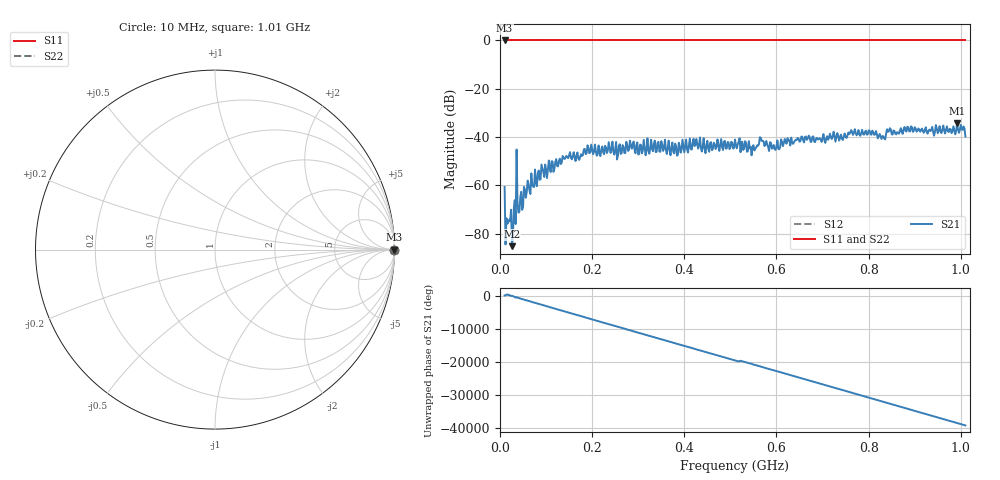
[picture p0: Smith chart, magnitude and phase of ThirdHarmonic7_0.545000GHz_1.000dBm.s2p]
! 8/17/2025 4:26:42 PM
! C:\ANRITSUVNA\TEMP\TEMP.S2P
! CHANNEL.1
! TR.MEASUREMENT
! RAW.DATA
! RF.CORRECTION.OFF
! AVERAGING.OFF
! IF.BANDWIDTH: 5KHZ
! SWEEPTYPE:  FREQ.SWEEP(Linear)
! Reference Plane Port Info
! PORT:  PORT1  PORT2
! DISTANCE:  0  m  0  m
! TIME:  0  s  0  s
! PHASE.OFFSET:  0  deg.  0  deg.
! LOSS:  0  dB  0  dB
! REF.LOSS:  0  dB  0  dB
! REF.FREQ:  0  Hz  0  Hz
! Power Info
! POWER:  -20  dBm  -20  dBm
! EFF.POWER:  -20  dBm  -20  dBm
! SOURCE.ATTEN:  0  dB  0  dB
! TEST.ATTEN:  0  dB  0  dB
# GHZ S RI R 50.0
! FREQ.GHZ  S11RE  S11IM  S21RE  S21IM  S12RE  S12IM  S22RE  S22IM
!; PortSelection: Port_12
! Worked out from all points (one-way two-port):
!   501 points, 10 MHz to 1.01 GHz, reference 50 ohm
!   highest |S21| = -34.33 dB at 992 MHz (marker M1); lowest = -85.2 dB at 26 MHz (marker M2)
!   lowest |S11| = 0.0 dB at 10 MHz (marker M3)
!   |S11| at or under -10 dB: nowhere
!   |S22| runs from 0.0 to 0.0 dB; largest |S21 - S12| = 1
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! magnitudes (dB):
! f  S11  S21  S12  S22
! 10 MHz  0.0  -60.7  0.0  0.0
! 16 MHz  0.0  -75.9  0.0  0.0
! 26 MHz  0.0  -85.2  0.0  0.0
! 30 MHz  0.0  -69.8  0.0  0.0
! 32 MHz  0.0  -66.2  0.0  0.0
! 34 MHz  0.0  -76.1  0.0  0.0
! 40 MHz  0.0  -71.3  0.0  0.0
! 44 MHz  0.0  -65.2  0.0  0.0
! 56 MHz  0.0  -65.2  0.0  0.0
! 94 MHz  0.0  -54.5  0.0  0.0
! 178 MHz  0.0  -47.9  0.0  0.0
! 286 MHz  0.0  -44.8  0.0  0.0
! 344 MHz  0.0  -42.0  0.0  0.0
! 510 MHz  0.0  -41.1  0.0  0.0
! 568 MHz  0.0  -41.7  0.0  0.0
! 594 MHz  0.0  -43.3  0.0  0.0
! 678 MHz  0.0  -39.9  0.0  0.0
! 766 MHz  0.0  -39.1  0.0  0.0
! 832 MHz  0.0  -39.7  0.0  0.0
! 844 MHz  0.0  -37.6  0.0  0.0
! 992 MHz  0.0  -34.3  0.0  0.0
! 1.01 GHz  0.0  -39.8  0.0  0.0
